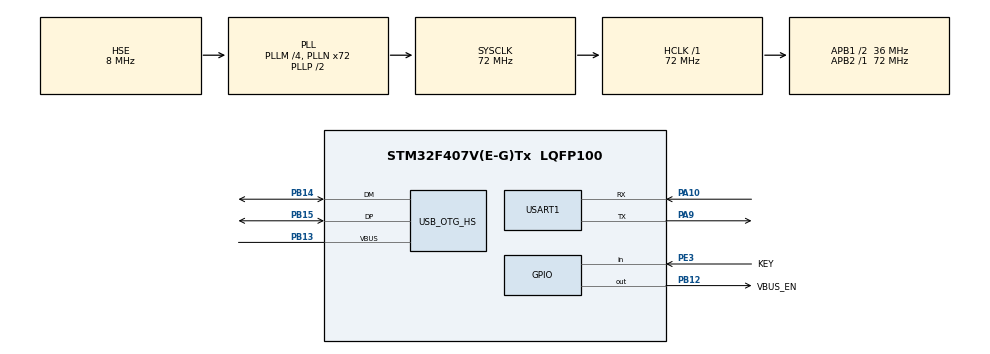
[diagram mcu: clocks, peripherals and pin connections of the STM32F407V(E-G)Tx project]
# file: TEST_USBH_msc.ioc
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FATFS._MAX_LFN=50
FATFS._USE_LFN=1
Mcu.Family=STM32F4
Mcu.Name=STM32F407V(E-G)Tx
Mcu.Package=LQFP100
NVIC.OTG_HS_IRQn=true\:0\:0\:false\:false\:true\:false\:true\:true
NVIC.PriorityGroup=NVIC_PRIORITYGROUP_4
PA10.Mode=Asynchronous
PA10.Signal=USART1_RX
PA13.Mode=Serial_Wire
PA13.Signal=SYS_JTMS-SWDIO
PA14.Mode=Serial_Wire
PA14.Signal=SYS_JTCK-SWCLK
PA9.Mode=Asynchronous
PA9.Signal=USART1_TX
PB12.GPIO_Label=VBUS_EN
PB12.Signal=GPIO_Output
PB13.Mode=Activate_VBUS_FS
PB13.Signal=USB_OTG_HS_VBUS
PB14.Mode=Host_FS
PB14.Signal=USB_OTG_HS_DM
PB15.Mode=Host_FS
PB15.Signal=USB_OTG_HS_DP
PE3.GPIO_Label=KEY
PE3.GPIO_PuPd=GPIO_PULLUP
PE3.Signal=GPIO_Input
PH0-OSC_IN.Mode=HSE-External-Oscillator
PH0-OSC_IN.Signal=RCC_OSC_IN
PH1-OSC_OUT.Mode=HSE-External-Oscillator
PH1-OSC_OUT.Signal=RCC_OSC_OUT
ProjectManager.HeapSize=0x800
ProjectManager.StackSize=0x1000
ProjectManager.TargetToolchain=EWARM V8.50
RCC.48MHZClocksFreq_Value=48000000
RCC.AHBFreq_Value=72000000
RCC.APB1CLKDivider=RCC_HCLK_DIV2
RCC.APB1Freq_Value=36000000
RCC.APB1TimFreq_Value=72000000
RCC.APB2Freq_Value=72000000
RCC.APB2TimFreq_Value=72000000
RCC.CortexFreq_Value=72000000
RCC.HCLKFreq_Value=72000000
RCC.HSE_VALUE=8000000
RCC.HSI_VALUE=16000000
RCC.LSE_VALUE=32768
RCC.PLLM=4
RCC.PLLN=72
RCC.PLLQ=3
RCC.SYSCLKFreq_VALUE=72000000
RCC.SYSCLKSource=RCC_SYSCLKSOURCE_PLLCLK
RCC.VCOOutputFreq_Value=144000000
USART1.VirtualMode=VM_ASYNC
USB_HOST.BSP.number=1
USB_HOST.USBH_HandleTypeDef-MSC_HS=hUsbHostHS
USB_HOST.VirtualModeHS=Msc
USB_HOST0.BSP.STBoard=false
USB_HOST0.BSP.api=Unknown
USB_HOST0.BSP.condition=SW_VBUS_DRIVE_MSC_HS \= false
USB_HOST0.BSP.instance=PB12
USB_HOST0.BSP.ip=GPIO
USB_HOST0.BSP.mode=Output
USB_HOST0.BSP.name=Drive_VBUS_HS
USB_HOST0.BSP.solution=PB12
USB_OTG_HS.VirtualMode-Host_FS=Host_FS
VP_FATFS_VS_USB.Mode=USB
VP_USB_HOST_VS_USB_HOST_MSC_HS.Mode=MSC_HS
board=custom

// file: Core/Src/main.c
/* USER CODE BEGIN Header */
/**
  ******************************************************************************
  * @file           : main.c
  * @brief          : Main program body
  ******************************************************************************
  * @attention
  *
  * Copyright (c) 2025 STMicroelectronics.
  * All rights reserved.
  *
  * This software is licensed under terms that can be found in the LICENSE file
  * in the root directory of this software component.
  * If no LICENSE file comes with this software, it is provided AS-IS.
  *
  ******************************************************************************
  */
/* USER CODE END Header */
#include "main.h"
#include "fatfs.h"
#include "usb_host.h"

/* USER CODE BEGIN Includes */
#include "printf.h"
/* USER CODE END Includes */

UART_HandleTypeDef huart1;

/* USER CODE BEGIN PV */
extern ApplicationTypeDef Appli_state;
/* USER CODE END PV */

void SystemClock_Config(void);
static void MX_GPIO_Init(void);
static void MX_USART1_UART_Init(void);
void MX_USB_HOST_Process(void);

/* USER CODE BEGIN PFP */
void TEST()
{

       if(Appli_state != APPLICATION_READY)
       {
          printf("USB DISK not found\r\n");
          return;
       }
       else
       {
          if(f_mount(&USBHFatFS,USBHPath,0) != FR_OK)
          {
            printf("USB DISK mount ERROR\r\n");
            return;
          }
           printf("USB DISK mount OK\r\n");

          if(f_open(&USBHFile,"TEST_USB_HOST.txt",FA_CREATE_ALWAYS | FA_WRITE) != FR_OK)
          {
             printf("USB DISK OPEN or Create FILE ERROR\r\n");
             return;
          }
           printf("USB DISK OPEN or Create FILE OK\r\n");

          UINT count = 0;
          char *buf = "this file for test usb host msc\r\n Myboard is STM32F407VET6 board AND I create USB HOST Board";
          if(f_write(&USBHFile,buf,strlen(buf),&count) != FR_OK || count != strlen(buf))
          {
             printf("USB DISK WRITE ERROR\r\n");
             return;
          }
          printf("USB DISK WRITE OK\r\n");

          if(f_close(&USBHFile) != FR_OK)
          {
             printf("USB DISK close FILE ERROR\r\n");
             return;
          }
          printf("USB DISK close FILE OK\r\n");

          if(f_mount(NULL,USBHPath,0) != FR_OK)
          {
             printf("USB DISK un Mount ERROR\r\n");
          }
          printf("USB DISK un Mount OK\r\n");
       }

}
/* USER CODE END PFP */

int main(void)
{

  /* MCU Configuration--------------------------------------------------------*/

  /* Reset of all peripherals, Initializes the Flash interface and the Systick. */
  HAL_Init();

  /* Configure the system clock */
  SystemClock_Config();

  /* Initialize all configured peripherals */
  MX_GPIO_Init();
  MX_FATFS_Init();
  MX_USB_HOST_Init();
  MX_USART1_UART_Init();
  /* USER CODE BEGIN 2 */
   printf("start test\r\n");
  /* USER CODE END 2 */

  /* Infinite loop */
  while (1)
  {
    MX_USB_HOST_Process();
    if(HAL_GPIO_ReadPin(KEY_GPIO_Port,KEY_Pin) == GPIO_PIN_RESET)
    {
       TEST();
     while(HAL_GPIO_ReadPin(KEY_GPIO_Port,KEY_Pin) == GPIO_PIN_RESET);
    }
  }
}

void SystemClock_Config(void)
{
  RCC_OscInitTypeDef RCC_OscInitStruct = {0};
  RCC_ClkInitTypeDef RCC_ClkInitStruct = {0};

  /** Configure the main internal regulator output voltage
  */
  __HAL_RCC_PWR_CLK_ENABLE();
  __HAL_PWR_VOLTAGESCALING_CONFIG(PWR_REGULATOR_VOLTAGE_SCALE1);

  /** Initializes the RCC Oscillators according to the specified parameters
  * in the RCC_OscInitTypeDef structure.
  */
  RCC_OscInitStruct.OscillatorType = RCC_OSCILLATORTYPE_HSE;
  RCC_OscInitStruct.HSEState = RCC_HSE_ON;
  RCC_OscInitStruct.PLL.PLLState = RCC_PLL_ON;
  RCC_OscInitStruct.PLL.PLLSource = RCC_PLLSOURCE_HSE;
  RCC_OscInitStruct.PLL.PLLM = 4;
  RCC_OscInitStruct.PLL.PLLN = 72;
  RCC_OscInitStruct.PLL.PLLP = RCC_PLLP_DIV2;
  RCC_OscInitStruct.PLL.PLLQ = 3;
  if (HAL_RCC_OscConfig(&RCC_OscInitStruct) != HAL_OK)
  {
    Error_Handler();
  }

  /** Initializes the CPU, AHB and APB buses clocks
  */
  RCC_ClkInitStruct.ClockType = RCC_CLOCKTYPE_HCLK|RCC_CLOCKTYPE_SYSCLK
                              |RCC_CLOCKTYPE_PCLK1|RCC_CLOCKTYPE_PCLK2;
  RCC_ClkInitStruct.SYSCLKSource = RCC_SYSCLKSOURCE_PLLCLK;
  RCC_ClkInitStruct.AHBCLKDivider = RCC_SYSCLK_DIV1;
  RCC_ClkInitStruct.APB1CLKDivider = RCC_HCLK_DIV2;
  RCC_ClkInitStruct.APB2CLKDivider = RCC_HCLK_DIV1;

  if (HAL_RCC_ClockConfig(&RCC_ClkInitStruct, FLASH_LATENCY_2) != HAL_OK)
  {
    Error_Handler();
  }
}

static void MX_USART1_UART_Init(void)
{

  huart1.Instance = USART1;
  huart1.Init.BaudRate = 115200;
  huart1.Init.WordLength = UART_WORDLENGTH_8B;
  huart1.Init.StopBits = UART_STOPBITS_1;
  huart1.Init.Parity = UART_PARITY_NONE;
  huart1.Init.Mode = UART_MODE_TX_RX;
  huart1.Init.HwFlowCtl = UART_HWCONTROL_NONE;
  huart1.Init.OverSampling = UART_OVERSAMPLING_16;
  if (HAL_UART_Init(&huart1) != HAL_OK)
  {
    Error_Handler();
  }

}

static void MX_GPIO_Init(void)
{
  GPIO_InitTypeDef GPIO_InitStruct = {0};

  /* GPIO Ports Clock Enable */
  __HAL_RCC_GPIOE_CLK_ENABLE();
  __HAL_RCC_GPIOH_CLK_ENABLE();
  __HAL_RCC_GPIOB_CLK_ENABLE();
  __HAL_RCC_GPIOA_CLK_ENABLE();

  /*Configure GPIO pin Output Level */
  HAL_GPIO_WritePin(VBUS_EN_GPIO_Port, VBUS_EN_Pin, GPIO_PIN_RESET);

  /*Configure GPIO pin : KEY_Pin */
  GPIO_InitStruct.Pin = KEY_Pin;
  GPIO_InitStruct.Mode = GPIO_MODE_INPUT;
  GPIO_InitStruct.Pull = GPIO_PULLUP;
  HAL_GPIO_Init(KEY_GPIO_Port, &GPIO_InitStruct);

  /*Configure GPIO pin : VBUS_EN_Pin */
  GPIO_InitStruct.Pin = VBUS_EN_Pin;
  GPIO_InitStruct.Mode = GPIO_MODE_OUTPUT_PP;
  GPIO_InitStruct.Pull = GPIO_NOPULL;
  GPIO_InitStruct.Speed = GPIO_SPEED_FREQ_LOW;
  HAL_GPIO_Init(VBUS_EN_GPIO_Port, &GPIO_InitStruct);

}

void Error_Handler(void)
{
  __disable_irq();
  while (1)
  {
  }
}
